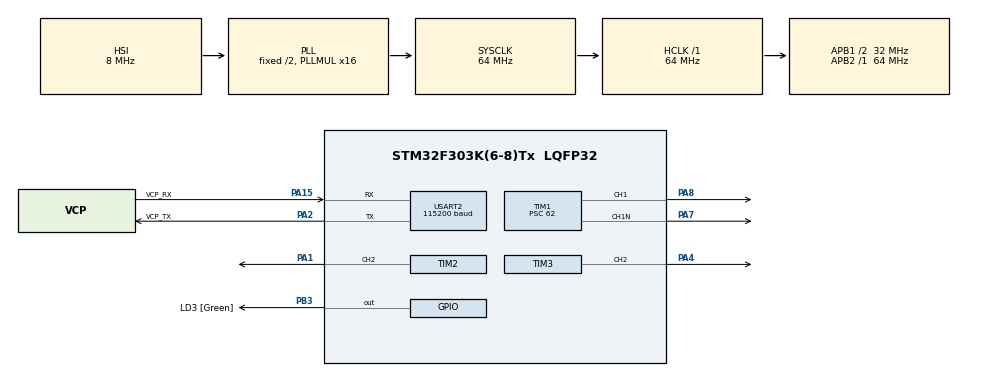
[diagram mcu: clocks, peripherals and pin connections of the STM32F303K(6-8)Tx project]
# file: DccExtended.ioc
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Dma.Request0=TIM1_CH1
Dma.Request1=USART2_TX
Dma.TIM1_CH1.0.Direction=DMA_MEMORY_TO_PERIPH
Dma.TIM1_CH1.0.Instance=DMA1_Channel2
Dma.TIM1_CH1.0.MemDataAlignment=DMA_MDATAALIGN_HALFWORD
Dma.TIM1_CH1.0.MemInc=DMA_MINC_ENABLE
Dma.TIM1_CH1.0.Mode=DMA_NORMAL
Dma.TIM1_CH1.0.PeriphDataAlignment=DMA_PDATAALIGN_HALFWORD
Dma.TIM1_CH1.0.PeriphInc=DMA_PINC_DISABLE
Dma.TIM1_CH1.0.Priority=DMA_PRIORITY_LOW
Dma.USART2_TX.1.Direction=DMA_MEMORY_TO_PERIPH
Dma.USART2_TX.1.Instance=DMA1_Channel7
Dma.USART2_TX.1.MemDataAlignment=DMA_MDATAALIGN_BYTE
Dma.USART2_TX.1.MemInc=DMA_MINC_ENABLE
Dma.USART2_TX.1.Mode=DMA_NORMAL
Dma.USART2_TX.1.PeriphDataAlignment=DMA_PDATAALIGN_BYTE
Dma.USART2_TX.1.PeriphInc=DMA_PINC_DISABLE
Dma.USART2_TX.1.Priority=DMA_PRIORITY_LOW
Mcu.Family=STM32F3
Mcu.Name=STM32F303K(6-8)Tx
Mcu.Package=LQFP32
NVIC.DMA1_Channel2_IRQn=true\:0\:0\:false\:false\:true\:false\:true
NVIC.DMA1_Channel7_IRQn=true\:0\:0\:false\:false\:true\:false\:true
NVIC.PriorityGroup=NVIC_PRIORITYGROUP_4
NVIC.TIM2_IRQn=true\:0\:0\:false\:false\:true\:true\:true
NVIC.TIM3_IRQn=true\:0\:0\:false\:false\:true\:true\:true
NVIC.USART2_IRQn=true\:0\:0\:false\:false\:true\:true\:true
PA1.Signal=S_TIM2_CH2
PA13.GPIO_Label=SWDIO
PA13.Mode=Serial_Wire
PA13.Signal=SYS_JTMS-SWDIO
PA14.GPIO_Label=SWCLK
PA14.Mode=Serial_Wire
PA14.Signal=SYS_JTCK-SWCLK
PA15.GPIO_Label=VCP_RX
PA15.Mode=Asynchronous
PA15.Signal=USART2_RX
PA2.GPIO_Label=VCP_TX
PA2.Mode=Asynchronous
PA2.Signal=USART2_TX
PA4.Signal=S_TIM3_CH2
PA7.Mode=PWM Generation1 CH1 CH1N
PA7.Signal=TIM1_CH1N
PA8.Signal=S_TIM1_CH1
PB3.GPIO_Label=LD3 [Green]
PB3.Signal=GPIO_Output
PF0\ /\ OSC_IN.GPIO_Label=MCO
PF0\ /\ OSC_IN.Mode=HSE-External-Clock-Source
PF0\ /\ OSC_IN.Signal=RCC_OSC_IN
ProjectManager.HeapSize=0x200
ProjectManager.StackSize=0x400
ProjectManager.TargetToolchain=STM32CubeIDE
RCC.AHBFreq_Value=64000000
RCC.APB1CLKDivider=RCC_HCLK_DIV2
RCC.APB1Freq_Value=32000000
RCC.APB1TimFreq_Value=64000000
RCC.APB2Freq_Value=64000000
RCC.APB2TimFreq_Value=64000000
RCC.CortexFreq_Value=64000000
RCC.HCLKFreq_Value=64000000
RCC.HSE_VALUE=8000000
RCC.HSI_VALUE=8000000
RCC.PLLMUL=RCC_PLL_MUL16
RCC.SYSCLKFreq_VALUE=64000000
RCC.SYSCLKSourceVirtual=RCC_SYSCLKSOURCE_PLLCLK
SH.S_TIM1_CH1.0=TIM1_CH1,PWM Generation1 CH1 CH1N
SH.S_TIM2_CH2.0=TIM2_CH2,PWM Generation2 CH2
SH.S_TIM3_CH2.0=TIM3_CH2,PWM Generation2 CH2
TIM1.Channel-PWM\ Generation1\ CH1\ CH1N=TIM_CHANNEL_1
TIM1.Period=112
TIM1.Prescaler=62
TIM1.Pulse-PWM\ Generation1\ CH1\ CH1N=56
TIM1.TIM_MasterOutputTrigger=TIM_TRGO_RESET
TIM2.Channel-PWM\ Generation2\ CH2=TIM_CHANNEL_2
TIM2.Period=488
TIM2.Prescaler=64
TIM2.Pulse-PWM\ Generation2\ CH2=75
TIM3.Channel-PWM\ Generation2\ CH2=TIM_CHANNEL_2
TIM3.OCPolarity_2=TIM_OCPOLARITY_LOW
TIM3.Period=14500
TIM3.Prescaler=64
TIM3.Pulse-PWM\ Generation2\ CH2=5000
TIM3.TIM_MasterOutputTrigger=TIM_TRGO_OC1
USART2.BaudRate=115200
USART2.VirtualMode-Asynchronous=VM_ASYNC
VP_TIM1_VS_ClockSourceINT.Mode=Internal
VP_TIM2_VS_ClockSourceINT.Mode=Internal
VP_TIM2_VS_OPM.Mode=OPM_bit
VP_TIM3_VS_ClockSourceINT.Mode=Internal
board=NUCLEO-F303K8

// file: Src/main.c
/* USER CODE BEGIN Header */
/**
  ******************************************************************************
  * @file           : main.c
  * @brief          : Main program body
  ******************************************************************************
  * @attention
  *
  * <h2><center>&copy; Copyright (c) 2019 STMicroelectronics.
  * All rights reserved.</center></h2>
  *
  * This software component is licensed by ST under BSD 3-Clause license,
  * the "License"; You may not use this file except in compliance with the
  * License. You may obtain a copy of the License at:
  *                        opensource.org/licenses/BSD-3-Clause
  * TIM1 = Waveform generator, uses dma
  * TIM2 = cutoff generator, one pulse
  * TIM3 = free running time base timer
  *
  ******************************************************************************
  */
/* USER CODE END Header */

#include "main.h"

TIM_HandleTypeDef htim1;
TIM_HandleTypeDef htim2;
TIM_HandleTypeDef htim3;
DMA_HandleTypeDef hdma_tim1_ch1;

UART_HandleTypeDef huart2;
DMA_HandleTypeDef hdma_usart2_tx;

void SystemClock_Config(void);
static void MX_GPIO_Init(void);
static void MX_DMA_Init(void);
static void MX_USART2_UART_Init(void);
static void MX_TIM1_Init(void);
static void MX_TIM3_Init(void);
static void MX_TIM2_Init(void);

/* USER CODE BEGIN 0 */
extern 	HAL_StatusTypeDef L_HAL_TIM_PWM_Start_DMA(TIM_HandleTypeDef *htim, uint32_t Channel, uint32_t *pData, uint16_t Length);
extern  void PWM_Start_DMA(uint32_t *pData, uint16_t Length);
extern	void init_bufs(void);
uint8_t	uart2_rx_buffer_ready;
extern	void uart_start(void);
s_uart_rxbuf uart_rxbuf;
extern	void compile_shadow(void);

len3_dcc_pack 	len3_packet;
len4_dcc_pack 	len4_packet;
len5_dcc_pack 	len5_packet;
len6_dcc_pack 	len6_packet;

dcc_struct	 	packets;
uint16_t 	shadow_buf[sizeof(len6_dcc_pack)];

uint16_t	tim3_flag=0 , tim2_flag=0 , dmatim1_flag=0;

/* USER CODE END 0 */

int main(void)
{
  /* USER CODE BEGIN 1 */
int	status=0;
  /* USER CODE END 1 */

  /* MCU Configuration--------------------------------------------------------*/

  /* Reset of all peripherals, Initializes the Flash interface and the Systick. */
  HAL_Init();

  /* Configure the system clock */
  SystemClock_Config();

  /* Initialize all configured peripherals */
  MX_GPIO_Init();
  MX_DMA_Init();
  MX_USART2_UART_Init();
  MX_TIM1_Init();
  MX_TIM3_Init();
  MX_TIM2_Init();
  /* USER CODE BEGIN 2 */
  init_bufs();
  uart_start();

  HAL_TIM_PWM_Start_IT(&htim3,TIM_CHANNEL_2);
  /* USER CODE END 2 */

  /* Infinite loop */
  /* USER CODE BEGIN WHILE */

  while (1)
  {
	  if ( tim3_flag == 1 )
	  {
		  switch ( status )
		  {
	  	  case	0 :	PWM_Start_DMA( (uint32_t *)packets.len3_packet , packets.len3_packet_len);
	  	  	  	    status++;
	  	  	  	  	break;
	  	  case	1 :	PWM_Start_DMA( (uint32_t *)packets.len4_packet , packets.len4_packet_len);
	  	  	  	  	status++;
	  	  	  	  	break;
	  	  case	2 :	PWM_Start_DMA( (uint32_t *)packets.len5_packet , packets.len5_packet_len);
	  	  	  	  	status++;
	  	  	  	  	break;
	  	  case	3 :	PWM_Start_DMA( (uint32_t *)packets.len6_packet , packets.len6_packet_len);
  	  	    		status=0;
	  	  	  	  	break;
		  }
		  tim3_flag = 0;
	  }
	  if ( dmatim1_flag == 1)
	  {
		  HAL_TIM_PWM_Start_IT(&htim2,TIM_CHANNEL_2);
		  dmatim1_flag = 0;
		  if ( uart2_rx_buffer_ready == 1)
		  {
			  compile_shadow();
			  uart2_rx_buffer_ready = 0;
		  }
	  }
	  if ( tim2_flag == 1)
	  {
		  htim1.Instance->CR1&=~TIM_CR1_CEN;
		  tim2_flag = 0;
	  }

    /* USER CODE END WHILE */

  }
}

void SystemClock_Config(void)
{
  RCC_OscInitTypeDef RCC_OscInitStruct = {0};
  RCC_ClkInitTypeDef RCC_ClkInitStruct = {0};
  RCC_PeriphCLKInitTypeDef PeriphClkInit = {0};

  /** Initializes the CPU, AHB and APB busses clocks
  */
  RCC_OscInitStruct.OscillatorType = RCC_OSCILLATORTYPE_HSI;
  RCC_OscInitStruct.HSIState = RCC_HSI_ON;
  RCC_OscInitStruct.HSICalibrationValue = RCC_HSICALIBRATION_DEFAULT;
  RCC_OscInitStruct.PLL.PLLState = RCC_PLL_ON;
  RCC_OscInitStruct.PLL.PLLSource = RCC_PLLSOURCE_HSI;
  RCC_OscInitStruct.PLL.PLLMUL = RCC_PLL_MUL16;
  if (HAL_RCC_OscConfig(&RCC_OscInitStruct) != HAL_OK)
  {
    Error_Handler();
  }
  /** Initializes the CPU, AHB and APB busses clocks
  */
  RCC_ClkInitStruct.ClockType = RCC_CLOCKTYPE_HCLK|RCC_CLOCKTYPE_SYSCLK
                              |RCC_CLOCKTYPE_PCLK1|RCC_CLOCKTYPE_PCLK2;
  RCC_ClkInitStruct.SYSCLKSource = RCC_SYSCLKSOURCE_PLLCLK;
  RCC_ClkInitStruct.AHBCLKDivider = RCC_SYSCLK_DIV1;
  RCC_ClkInitStruct.APB1CLKDivider = RCC_HCLK_DIV2;
  RCC_ClkInitStruct.APB2CLKDivider = RCC_HCLK_DIV1;

  if (HAL_RCC_ClockConfig(&RCC_ClkInitStruct, FLASH_LATENCY_2) != HAL_OK)
  {
    Error_Handler();
  }
  PeriphClkInit.PeriphClockSelection = RCC_PERIPHCLK_TIM1;
  PeriphClkInit.Tim1ClockSelection = RCC_TIM1CLK_HCLK;
  if (HAL_RCCEx_PeriphCLKConfig(&PeriphClkInit) != HAL_OK)
  {
    Error_Handler();
  }
}

static void MX_TIM1_Init(void)
{

  TIM_ClockConfigTypeDef sClockSourceConfig = {0};
  TIM_MasterConfigTypeDef sMasterConfig = {0};
  TIM_OC_InitTypeDef sConfigOC = {0};
  TIM_BreakDeadTimeConfigTypeDef sBreakDeadTimeConfig = {0};

  htim1.Instance = TIM1;
  htim1.Init.Prescaler = 62;
  htim1.Init.CounterMode = TIM_COUNTERMODE_UP;
  htim1.Init.Period = 112;
  htim1.Init.ClockDivision = TIM_CLOCKDIVISION_DIV1;
  htim1.Init.RepetitionCounter = 0;
  htim1.Init.AutoReloadPreload = TIM_AUTORELOAD_PRELOAD_DISABLE;
  if (HAL_TIM_Base_Init(&htim1) != HAL_OK)
  {
    Error_Handler();
  }
  sClockSourceConfig.ClockSource = TIM_CLOCKSOURCE_INTERNAL;
  if (HAL_TIM_ConfigClockSource(&htim1, &sClockSourceConfig) != HAL_OK)
  {
    Error_Handler();
  }
  if (HAL_TIM_PWM_Init(&htim1) != HAL_OK)
  {
    Error_Handler();
  }
  sMasterConfig.MasterOutputTrigger = TIM_TRGO_RESET;
  sMasterConfig.MasterOutputTrigger2 = TIM_TRGO2_RESET;
  sMasterConfig.MasterSlaveMode = TIM_MASTERSLAVEMODE_DISABLE;
  if (HAL_TIMEx_MasterConfigSynchronization(&htim1, &sMasterConfig) != HAL_OK)
  {
    Error_Handler();
  }
  sConfigOC.OCMode = TIM_OCMODE_PWM1;
  sConfigOC.Pulse = 56;
  sConfigOC.OCPolarity = TIM_OCPOLARITY_HIGH;
  sConfigOC.OCNPolarity = TIM_OCNPOLARITY_HIGH;
  sConfigOC.OCFastMode = TIM_OCFAST_DISABLE;
  sConfigOC.OCIdleState = TIM_OCIDLESTATE_RESET;
  sConfigOC.OCNIdleState = TIM_OCNIDLESTATE_RESET;
  if (HAL_TIM_PWM_ConfigChannel(&htim1, &sConfigOC, TIM_CHANNEL_1) != HAL_OK)
  {
    Error_Handler();
  }
  sBreakDeadTimeConfig.OffStateRunMode = TIM_OSSR_DISABLE;
  sBreakDeadTimeConfig.OffStateIDLEMode = TIM_OSSI_DISABLE;
  sBreakDeadTimeConfig.LockLevel = TIM_LOCKLEVEL_OFF;
  sBreakDeadTimeConfig.DeadTime = 0;
  sBreakDeadTimeConfig.BreakState = TIM_BREAK_DISABLE;
  sBreakDeadTimeConfig.BreakPolarity = TIM_BREAKPOLARITY_HIGH;
  sBreakDeadTimeConfig.BreakFilter = 0;
  sBreakDeadTimeConfig.Break2State = TIM_BREAK2_DISABLE;
  sBreakDeadTimeConfig.Break2Polarity = TIM_BREAK2POLARITY_HIGH;
  sBreakDeadTimeConfig.Break2Filter = 0;
  sBreakDeadTimeConfig.AutomaticOutput = TIM_AUTOMATICOUTPUT_DISABLE;
  if (HAL_TIMEx_ConfigBreakDeadTime(&htim1, &sBreakDeadTimeConfig) != HAL_OK)
  {
    Error_Handler();
  }
  HAL_TIM_MspPostInit(&htim1);

}

static void MX_TIM2_Init(void)
{

  TIM_ClockConfigTypeDef sClockSourceConfig = {0};
  TIM_MasterConfigTypeDef sMasterConfig = {0};
  TIM_OC_InitTypeDef sConfigOC = {0};

  htim2.Instance = TIM2;
  htim2.Init.Prescaler = 64;
  htim2.Init.CounterMode = TIM_COUNTERMODE_UP;
  htim2.Init.Period = 488;
  htim2.Init.ClockDivision = TIM_CLOCKDIVISION_DIV1;
  htim2.Init.AutoReloadPreload = TIM_AUTORELOAD_PRELOAD_DISABLE;
  if (HAL_TIM_Base_Init(&htim2) != HAL_OK)
  {
    Error_Handler();
  }
  sClockSourceConfig.ClockSource = TIM_CLOCKSOURCE_INTERNAL;
  if (HAL_TIM_ConfigClockSource(&htim2, &sClockSourceConfig) != HAL_OK)
  {
    Error_Handler();
  }
  if (HAL_TIM_PWM_Init(&htim2) != HAL_OK)
  {
    Error_Handler();
  }
  if (HAL_TIM_OnePulse_Init(&htim2, TIM_OPMODE_SINGLE) != HAL_OK)
  {
    Error_Handler();
  }
  sMasterConfig.MasterOutputTrigger = TIM_TRGO_RESET;
  sMasterConfig.MasterSlaveMode = TIM_MASTERSLAVEMODE_DISABLE;
  if (HAL_TIMEx_MasterConfigSynchronization(&htim2, &sMasterConfig) != HAL_OK)
  {
    Error_Handler();
  }
  sConfigOC.OCMode = TIM_OCMODE_PWM1;
  sConfigOC.Pulse = 75;
  sConfigOC.OCPolarity = TIM_OCPOLARITY_HIGH;
  sConfigOC.OCFastMode = TIM_OCFAST_DISABLE;
  if (HAL_TIM_PWM_ConfigChannel(&htim2, &sConfigOC, TIM_CHANNEL_2) != HAL_OK)
  {
    Error_Handler();
  }
  HAL_TIM_MspPostInit(&htim2);

}

static void MX_TIM3_Init(void)
{

  TIM_ClockConfigTypeDef sClockSourceConfig = {0};
  TIM_MasterConfigTypeDef sMasterConfig = {0};
  TIM_OC_InitTypeDef sConfigOC = {0};

  htim3.Instance = TIM3;
  htim3.Init.Prescaler = 64;
  htim3.Init.CounterMode = TIM_COUNTERMODE_UP;
  htim3.Init.Period = 14500;
  htim3.Init.ClockDivision = TIM_CLOCKDIVISION_DIV1;
  htim3.Init.AutoReloadPreload = TIM_AUTORELOAD_PRELOAD_DISABLE;
  if (HAL_TIM_Base_Init(&htim3) != HAL_OK)
  {
    Error_Handler();
  }
  sClockSourceConfig.ClockSource = TIM_CLOCKSOURCE_INTERNAL;
  if (HAL_TIM_ConfigClockSource(&htim3, &sClockSourceConfig) != HAL_OK)
  {
    Error_Handler();
  }
  if (HAL_TIM_PWM_Init(&htim3) != HAL_OK)
  {
    Error_Handler();
  }
  sMasterConfig.MasterOutputTrigger = TIM_TRGO_OC1;
  sMasterConfig.MasterSlaveMode = TIM_MASTERSLAVEMODE_DISABLE;
  if (HAL_TIMEx_MasterConfigSynchronization(&htim3, &sMasterConfig) != HAL_OK)
  {
    Error_Handler();
  }
  sConfigOC.OCMode = TIM_OCMODE_PWM1;
  sConfigOC.Pulse = 5000;
  sConfigOC.OCPolarity = TIM_OCPOLARITY_LOW;
  sConfigOC.OCFastMode = TIM_OCFAST_DISABLE;
  if (HAL_TIM_PWM_ConfigChannel(&htim3, &sConfigOC, TIM_CHANNEL_2) != HAL_OK)
  {
    Error_Handler();
  }
  HAL_TIM_MspPostInit(&htim3);

}

static void MX_USART2_UART_Init(void)
{

  huart2.Instance = USART2;
  huart2.Init.BaudRate = 115200;
  huart2.Init.WordLength = UART_WORDLENGTH_8B;
  huart2.Init.StopBits = UART_STOPBITS_1;
  huart2.Init.Parity = UART_PARITY_NONE;
  huart2.Init.Mode = UART_MODE_TX_RX;
  huart2.Init.HwFlowCtl = UART_HWCONTROL_NONE;
  huart2.Init.OverSampling = UART_OVERSAMPLING_16;
  huart2.Init.OneBitSampling = UART_ONE_BIT_SAMPLE_DISABLE;
  huart2.AdvancedInit.AdvFeatureInit = UART_ADVFEATURE_NO_INIT;
  if (HAL_UART_Init(&huart2) != HAL_OK)
  {
    Error_Handler();
  }

}

static void MX_DMA_Init(void)
{

  /* DMA controller clock enable */
  __HAL_RCC_DMA1_CLK_ENABLE();

  /* DMA interrupt init */
  /* DMA1_Channel2_IRQn interrupt configuration */
  HAL_NVIC_SetPriority(DMA1_Channel2_IRQn, 0, 0);
  HAL_NVIC_EnableIRQ(DMA1_Channel2_IRQn);
  /* DMA1_Channel7_IRQn interrupt configuration */
  HAL_NVIC_SetPriority(DMA1_Channel7_IRQn, 0, 0);
  HAL_NVIC_EnableIRQ(DMA1_Channel7_IRQn);

}

static void MX_GPIO_Init(void)
{
  GPIO_InitTypeDef GPIO_InitStruct = {0};

  /* GPIO Ports Clock Enable */
  __HAL_RCC_GPIOF_CLK_ENABLE();
  __HAL_RCC_GPIOA_CLK_ENABLE();
  __HAL_RCC_GPIOB_CLK_ENABLE();

  /*Configure GPIO pin Output Level */
  HAL_GPIO_WritePin(LD3_GPIO_Port, LD3_Pin, GPIO_PIN_RESET);

  /*Configure GPIO pin : LD3_Pin */
  GPIO_InitStruct.Pin = LD3_Pin;
  GPIO_InitStruct.Mode = GPIO_MODE_OUTPUT_PP;
  GPIO_InitStruct.Pull = GPIO_NOPULL;
  GPIO_InitStruct.Speed = GPIO_SPEED_FREQ_LOW;
  HAL_GPIO_Init(LD3_GPIO_Port, &GPIO_InitStruct);

}

void Error_Handler(void)
{
}

/************************ (C) COPYRIGHT STMicroelectronics *****END OF FILE****/
